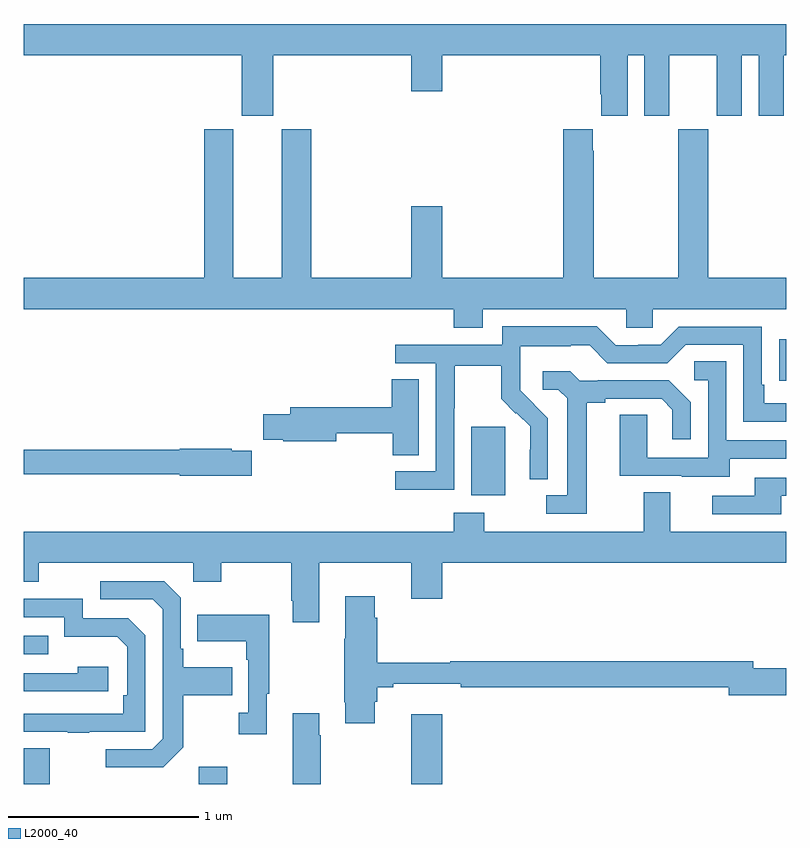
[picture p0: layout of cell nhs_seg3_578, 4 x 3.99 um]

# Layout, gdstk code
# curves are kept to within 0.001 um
import gdstk
lib = gdstk.Library(unit=1e-6, precision=1e-09)
def R(c, l, rs):  # rectangles x0, y0, x1, y1
    for r in rs: c.add(gdstk.rectangle(r[:2], r[2:], *l))
def P(c, l, *ps):  # polygons
    for p in ps: c.add(gdstk.Polygon(p, *l))
L2000_40 = (2000, 40)

nhs_seg3_578 = lib.new_cell('nhs_seg3_578')
R(nhs_seg3_578, L2000_40, [(139,722.4,139.135,722.587), (139.919,722.4,140.067,722.491), (141.032,722.4,141.196,722.767), (139,723.081,139.127,723.177), (141.347,723.914,141.526,724.275), (142.963,724.516,143,724.735)])
P(nhs_seg3_578, L2000_40, [(140.308,726.224),(141.032,726.224),(141.032,726.036),(141.196,726.036),(141.196,726.224),(142.025,726.224),(142.025,726.019),(142.031,726.019),(142.031,725.907),(142.168,725.907),(142.168,726.224),(142.256,726.224),(142.256,725.907),(142.387,725.907),(142.387,726.224),(142.637,726.224),(142.637,725.907),(142.768,725.907),(142.768,726.224),(142.856,726.224),(142.856,725.907),(142.987,725.907),(142.987,726.224),(143,726.224),(143,726.388),(139,726.388),(139,726.224),(140.144,726.224),(140.144,725.907),(140.308,725.907)],
  [(141.409,724.892),(142.161,724.892),(142.161,724.794),(142.299,724.794),(142.299,724.892),(143,724.892),(143,725.056),(142.59,725.056),(142.59,725.836),(142.435,725.836),(142.435,725.056),(141.99,725.056),(141.99,725.723),(141.985,725.723),(141.985,725.836),(141.83,725.836),(141.83,725.056),(141.196,725.056),(141.196,725.431),(141.032,725.431),(141.032,725.056),(140.507,725.056),(140.507,725.835),(140.354,725.835),(140.354,725.056),(140.098,725.056),(140.098,725.835),(139.946,725.835),(139.946,725.056),(139,725.056),(139,724.892),(141.257,724.892),(141.257,724.793),(141.409,724.793)],
  [(141.258,724.372),(141.261,724.372),(141.261,724.596),(141.505,724.596),(141.505,724.421),(141.582,724.344),(141.585,724.347),(141.656,724.277),(141.656,724.154),(141.654,724.154),(141.654,724),(141.75,724),(141.75,724.318),(141.604,724.466),(141.604,724.563),(141.606,724.563),(141.606,724.697),(141.869,724.697),(141.869,724.701),(141.969,724.701),(142.062,724.608),(142.377,724.608),(142.473,724.704),(142.776,724.704),(142.776,724.302),(143,724.302),(143,724.398),(142.885,724.398),(142.885,724.495),(142.872,724.495),(142.872,724.8),(142.437,724.8),(142.341,724.704),(142.223,724.704),(142.223,724.701),(142.107,724.701),(142.007,724.801),(141.51,724.801),(141.51,724.704),(140.949,724.704),(140.949,724.608),(141.162,724.608),(141.162,724.041),(140.949,724.041),(140.949,723.943),(141.258,723.943)],
  [(142.705,724.107),(143,724.107),(143,724.203),(142.686,724.203),(142.686,724.619),(142.518,724.619),(142.518,724.518),(142.59,724.518),(142.59,724.113),(142.272,724.113),(142.272,724.337),(142.127,724.337),(142.127,724.017),(142.451,724.017),(142.451,724.013),(142.705,724.013)],
  [(141.955,724.4),(142.051,724.4),(142.051,724.422),(142.346,724.422),(142.403,724.365),(142.403,724.209),(142.5,724.209),(142.5,724.402),(142.384,724.518),(142.012,724.518),(142.012,724.515),(141.918,724.515),(141.866,724.567),(141.723,724.567),(141.723,724.47),(141.804,724.47),(141.851,724.423),(141.851,723.915),(141.741,723.915),(141.741,723.819),(141.955,723.819)],
  [(141.073,724.523),(140.93,724.523),(140.93,724.376),(140.399,724.376),(140.399,724.34),(140.257,724.34),(140.257,724.206),(140.362,724.206),(140.362,724.198),(140.638,724.198),(140.638,724.24),(140.935,724.24),(140.935,724.126),(141.073,724.126)],
  [(140.195,724.148),(140.09,724.148),(140.09,724.16),(139.818,724.16),(139.818,724.154),(139,724.154),(139,724.026),(139.818,724.026),(139.818,724.018),(140.195,724.018)],
  [(142.975,723.912),(143,723.912),(143,724.008),(142.835,724.008),(142.835,723.912),(142.611,723.912),(142.611,723.816),(142.975,723.816)],
  [(140.551,723.56),(141.032,723.56),(141.032,723.372),(141.196,723.372),(141.196,723.56),(143,723.56),(143,723.724),(142.393,723.724),(142.393,723.932),(142.253,723.932),(142.253,723.724),(141.417,723.724),(141.417,723.823),(141.257,723.823),(141.257,723.724),(139,723.724),(139,723.461),(139.077,723.461),(139.077,723.56),(139.89,723.56),(139.89,723.461),(140.037,723.461),(140.037,723.56),(140.404,723.56),(140.404,723.361),(140.411,723.361),(140.411,723.249),(140.551,723.249)],
  [(139.837,722.593),(139.837,722.866),(140.093,722.866),(140.093,723.013),(139.837,723.013),(139.837,723.109),(139.824,723.109),(139.824,723.378),(139.737,723.465),(139.401,723.465),(139.401,723.369),(139.677,723.369),(139.728,723.318),(139.728,722.637),(139.674,722.583),(139.431,722.583),(139.431,722.487),(139.731,722.487)],
  [(140.842,722.831),(140.855,722.831),(140.855,722.908),(140.938,722.908),(140.938,722.927),(141.292,722.927),(141.292,722.908),(142.7,722.908),(142.7,722.866),(143,722.866),(143,723.008),(142.828,723.008),(142.828,723.044),(141.238,723.044),(141.238,723.037),(140.855,723.037),(140.855,723.272),(140.842,723.272),(140.842,723.385),(140.687,723.385),(140.687,723.161),(140.68,723.161),(140.68,722.83),(140.687,722.83),(140.687,722.718),(140.842,722.718)],
  [(139.343,722.673),(139.638,722.673),(139.638,723.18),(139.548,723.27),(139.308,723.27),(139.308,723.372),(139,723.372),(139,723.276),(139.212,723.276),(139.212,723.173),(139.489,723.173),(139.542,723.12),(139.542,722.866),(139.522,722.866),(139.522,722.769),(139,722.769),(139,722.673),(139.231,722.673),(139.231,722.668),(139.343,722.668)],
  [(140.275,722.873),(140.287,722.873),(140.287,723.289),(139.909,723.289),(139.909,723.149),(140.166,723.149),(140.166,723.053),(140.178,723.053),(140.178,722.774),(140.127,722.774),(140.127,722.661),(140.275,722.661)],
  [(139.444,723.016),(139.283,723.016),(139.283,722.982),(139,722.982),(139,722.886),(139.444,722.886)],
  [(140.559,722.657),(140.551,722.657),(140.551,722.77),(140.411,722.77),(140.411,722.4),(140.559,722.4)])

lib.write_gds('nhs_seg3_578.gds')
